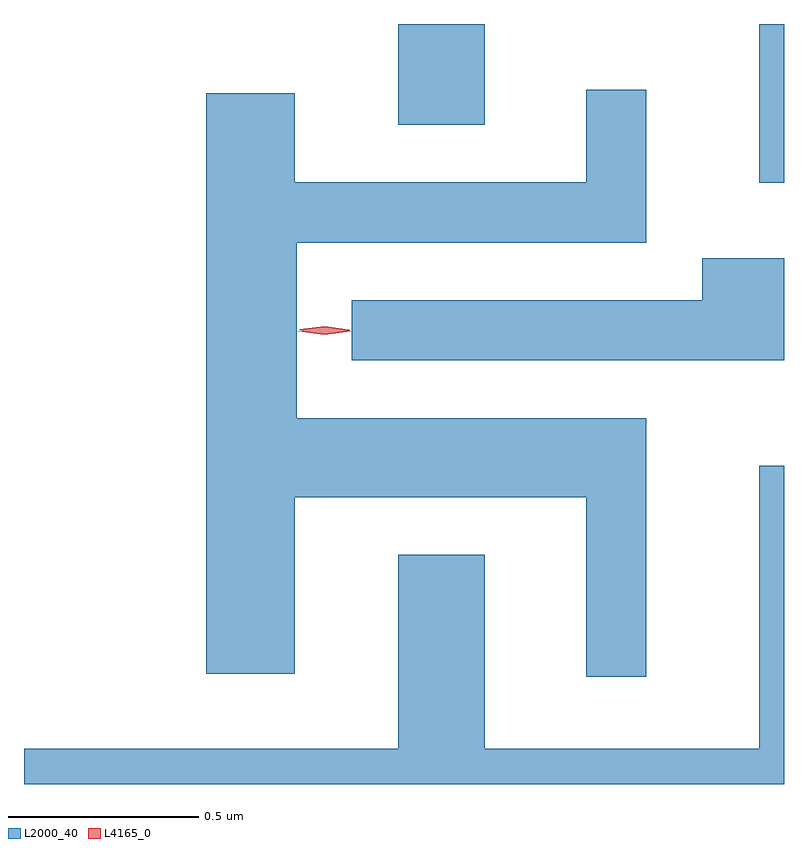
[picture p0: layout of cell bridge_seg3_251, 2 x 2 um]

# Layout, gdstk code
import gdstk
lib = gdstk.Library(unit=1e-6, precision=1e-09)
def R(c, l, rs):  # rectangles x0, y0, x1, y1
    for r in rs: c.add(gdstk.rectangle(r[:2], r[2:], *l))
def P(c, l, *ps):  # polygons
    for p in ps: c.add(gdstk.Polygon(p, *l))
L2000_40 = (2000, 40)
L4165_0 = (4165, 0)

bridge_seg3_251 = lib.new_cell('bridge_seg3_251')
R(bridge_seg3_251, L2000_40, [(945.281,1143.313,945.346,1143.731), (944.331,1143.466,944.559,1143.731)])
P(bridge_seg3_251, L2000_40, [(944.984,1142.694),(944.064,1142.694),(944.064,1143.156),(944.984,1143.156),(944.984,1143.558),(944.826,1143.558),(944.826,1143.314),(944.059,1143.314),(944.059,1143.549),(943.826,1143.549),(943.826,1142.021),(944.059,1142.021),(944.059,1142.486),(944.826,1142.486),(944.826,1142.013),(944.984,1142.013)],
  [(945.346,1143.114),(945.131,1143.114),(945.131,1143.004),(944.208,1143.004),(944.208,1142.846),(945.346,1142.846)],
  [(945.346,1142.568),(945.281,1142.568),(945.281,1141.824),(944.559,1141.824),(944.559,1142.334),(944.331,1142.334),(944.331,1141.824),(943.346,1141.824),(943.346,1141.731),(945.346,1141.731)])
P(bridge_seg3_251, L4165_0, [(944.137,1142.913),(944.068,1142.922),(944.067,1142.923),(944.068,1142.923),(944.137,1142.933),(944.206,1142.923),(944.206,1142.923),(944.206,1142.922)],
  [(944.136,1142.916),(944.071,1142.927),(944.07,1142.927),(944.071,1142.928),(944.137,1142.936),(944.202,1142.926),(944.203,1142.925),(944.202,1142.924)])

lib.write_gds('bridge_seg3_251.gds')
